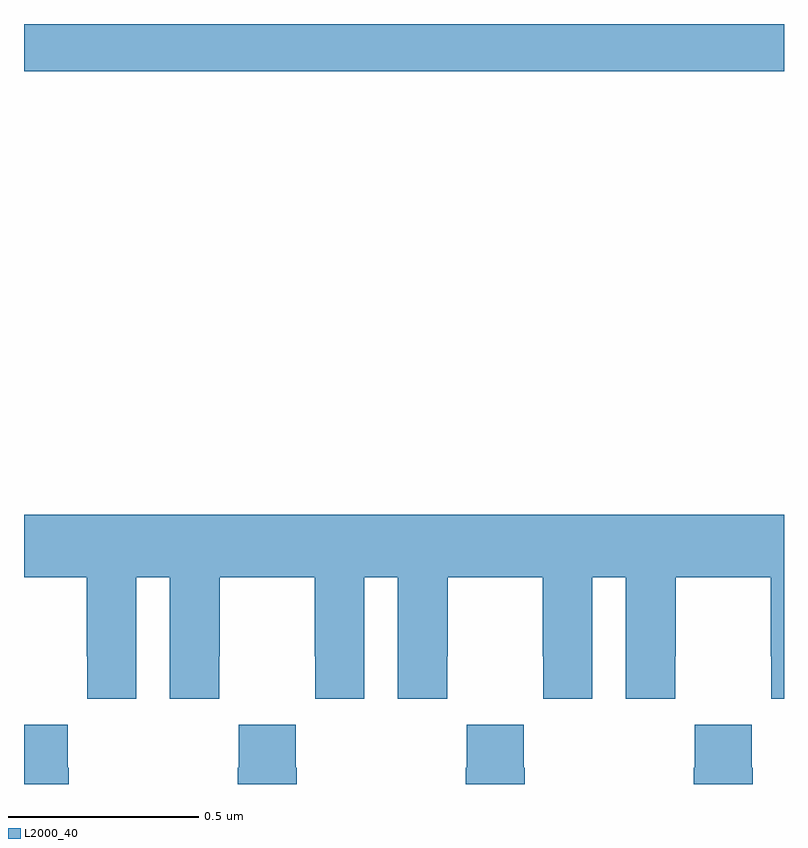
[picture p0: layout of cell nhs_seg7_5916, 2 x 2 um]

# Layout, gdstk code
import gdstk
lib = gdstk.Library(unit=1e-6, precision=1e-09)
def R(c, l, rs):  # rectangles x0, y0, x1, y1
    for r in rs: c.add(gdstk.rectangle(r[:2], r[2:], *l))
def P(c, l, *ps):  # polygons
    for p in ps: c.add(gdstk.Polygon(p, *l))
L2000_40 = (2000, 40)

nhs_seg7_5916 = lib.new_cell('nhs_seg7_5916')
R(nhs_seg7_5916, L2000_40, [(191,1073.876,193,1074)])
P(nhs_seg7_5916, L2000_40, [(191,1072.544),(191.165,1072.544),(191.165,1072.336),(191.166,1072.336),(191.166,1072.224),(191.296,1072.224),(191.296,1072.544),(191.384,1072.544),(191.384,1072.224),(191.514,1072.224),(191.514,1072.336),(191.515,1072.336),(191.515,1072.544),(191.765,1072.544),(191.765,1072.336),(191.766,1072.336),(191.766,1072.224),(191.896,1072.224),(191.896,1072.544),(191.984,1072.544),(191.984,1072.224),(192.114,1072.224),(192.114,1072.336),(192.115,1072.336),(192.115,1072.544),(192.365,1072.544),(192.365,1072.336),(192.366,1072.336),(192.366,1072.224),(192.496,1072.224),(192.496,1072.544),(192.584,1072.544),(192.584,1072.224),(192.714,1072.224),(192.714,1072.336),(192.715,1072.336),(192.715,1072.544),(192.965,1072.544),(192.965,1072.336),(192.966,1072.336),(192.966,1072.224),(193,1072.224),(193,1072.708),(191,1072.708)],
  [(192.318,1072.043),(192.315,1072.043),(192.315,1072.156),(192.165,1072.156),(192.165,1072.043),(192.163,1072.043),(192.163,1072),(192.318,1072)],
  [(192.918,1072.043),(192.915,1072.043),(192.915,1072.156),(192.765,1072.156),(192.765,1072.043),(192.763,1072.043),(192.763,1072),(192.918,1072)],
  [(191.118,1072.043),(191.115,1072.043),(191.115,1072.156),(191,1072.156),(191,1072),(191.118,1072)],
  [(191.565,1072.156),(191.565,1072.043),(191.563,1072.043),(191.563,1072),(191.718,1072),(191.718,1072.043),(191.715,1072.043),(191.715,1072.156)])

lib.write_gds('nhs_seg7_5916.gds')
